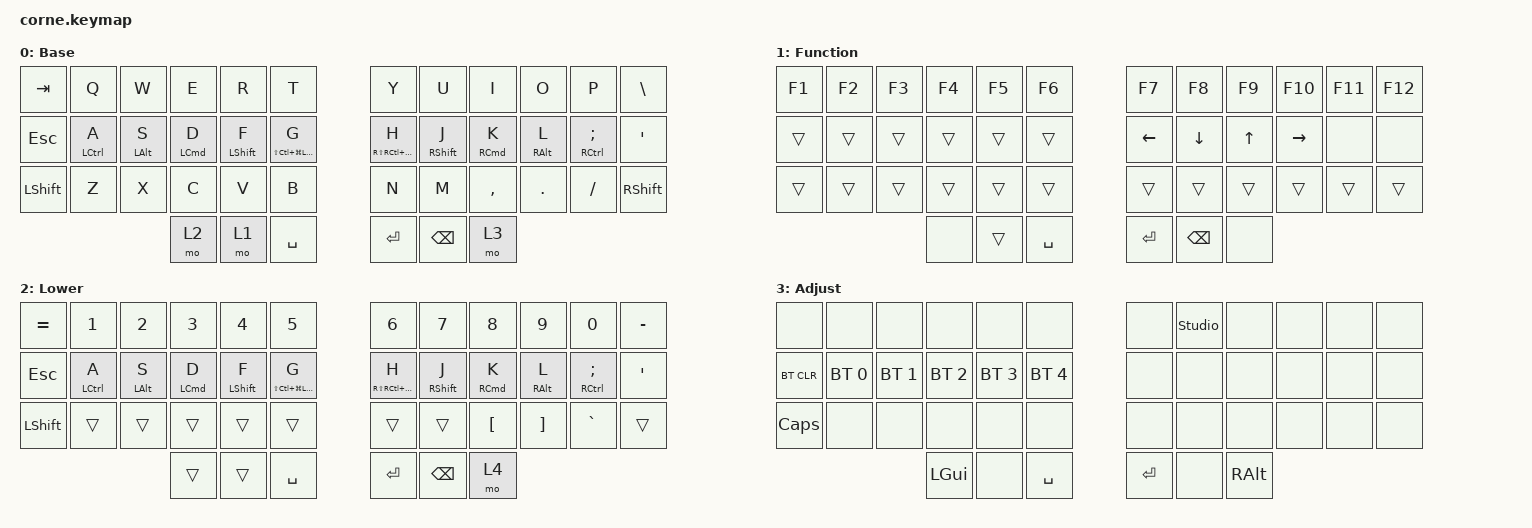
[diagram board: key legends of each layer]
/*
 * Copyright (c) 2020 The ZMK Contributors
 *
 * SPDX-License-Identifier: MIT
 */

#include <behaviors.dtsi>
#include <dt-bindings/zmk/bt.h>
#include <dt-bindings/zmk/keys.h>

#define DEFAULT  0
#define FUNCTION 1 
#define LOWER    2
#define ADJUST   3

/ {
    behaviors {
      #include "macros.dtsi"

      hm: homerow_mods {
          compatible = "zmk,behavior-hold-tap";
          label = "HOMEROW_MODS";
          #binding-cells = <2>;
          tapping-term-ms = <200>;
          quick_tap_ms = <175>;
          flavor = "tap-preferred";
          bindings = <&kp>, <&kp>;
      };

      hml: hml {
          compatible = "zmk,behavior-hold-tap";
          label = "HML";
          bindings = <&kp>, <&kp>;

          #binding-cells = <2>;
          tapping-term-ms = <250>;
          quick-tap-ms = <150>;
          flavor = "balanced";
          hold-trigger-key-positions = <6 7 8 9 10 11 18 19 20 21 22 23 30 31 32 33 34 35 39 40 41>;
          hold-trigger-on-release;
      };

      hmr: hmr {
          compatible = "zmk,behavior-hold-tap";
          label = "HMR";
          bindings = <&kp>, <&kp>;

          #binding-cells = <2>;
          tapping-term-ms = <250>;
          quick-tap-ms = <150>;
          flavor = "balanced";
          hold-trigger-key-positions = <0 1 2 3 4 5 12 13 14 15 16 17 24 25 26 27 28 29 36 37 38>;
          hold-trigger-on-release;
      };

      hmlshift: hmlshift {
          compatible = "zmk,behavior-hold-tap";
          label = "HMLSHIFT";
          bindings = <&kp>, <&kp>;

          #binding-cells = <2>;
          tapping-term-ms = <200>;
          quick-tap-ms = <150>;
          flavor = "balanced";
          hold-trigger-key-positions = <6 7 8 9 10 11 18 19 20 21 22 23 30 31 32 33 34 35 39 40 41>;
          hold-trigger-on-release;
      };

      hmrshift: hmrshift {
          compatible = "zmk,behavior-hold-tap";
          label = "HMRSHIFT";
          bindings = <&kp>, <&kp>;

          #binding-cells = <2>;
          tapping-term-ms = <200>;
          quick-tap-ms = <150>;
          flavor = "balanced";
          hold-trigger-key-positions = <0 1 2 3 4 5 12 13 14 15 16 17 24 25 26 27 28 29 36 37 38>;
          hold-trigger-on-release;
      };
    };

    combos {
        compatible = "zmk,combos";
        
        combo_caps {
            bindings = <&caps_word>;
            key-positions = <24 35>;
            layers = <0>;
        };

        combo_parans {
            bindings = <&macro_parens>;
            key-positions = <9 10>;
            layers = <2>;
        };

        combo_brackets {
            bindings = <&macro_brackets>;
            key-positions = <20 21>;
            layers = <2>;
        };

        combo_braces {
            bindings = <&macro_braces>;
            key-positions = <32 33>;
            layers = <2>;
        };
    };

    keymap {
        compatible = "zmk,keymap";

        // key positions
        // -----------------------------------------------------------------------------------------
        // |   0  |   1  |   2  |   3  |   4  |   5  |    |   6  |   7  |   7  |   9  |  10  |  11  |
        // |  12  |  13  |  14  |  15  |  16  |  17  |    |  18  |  19  |  20  |  21  |  22  |  23  |
        // |  24  |  25  |  26  |  27  |  28  |  29  |    |  30  |  31  |  32  |  33  |  34  |  35  |
        //                      |  36  |  37  |  38  |    |  39  |  40  |  41  |


        default_layer {
            display-name = "Base";
            // -----------------------------------------------------------------------------------------
            // |  TAB |  Q  |  W  |  E  |  R  |  T  |   |  Y  |  U   |  I  |  O  |  P  |   \  |
            // |  ESC |  A  |  S  |  D  |  F  |  G  |   |  H  |  J   |  K  |  L  |  ;  |  '   |
            // | SHFT |  Z  |  X  |  C  |  V  |  B  |   |  N  |  M   |  ,  |  .  |  /  | SHFT |
            //                    | LWR | FN  | SPC |   | ENT | BSPC | RSE |

            bindings = <
                &kp TAB    &kp Q         &kp W        &kp E        &kp R           &kp T                                &kp Y                              &kp U         &kp I        &kp O        &kp P            &kp BSLH
                &kp ESC    &hml LCTRL A  &hml LALT S  &hml LCMD D  &hml LSHFT F    &hmlshift LS(LC(LG(LEFT_ALT))) G     &hmrshift RS(RC(RG(RIGHT_ALT))) H  &hmr RSHFT J  &hmr RCMD K  &hmr RALT L  &hmr RCTRL SEMI  &kp SQT
                &kp LSHFT  &kp Z         &kp X        &kp C        &kp V           &kp B                                &kp N                              &kp M         &kp COMMA    &kp DOT      &kp FSLH         &kp RSHFT
                                                      &mo 2        &mo 1           &kp SPACE                            &kp RET                            &kp BSPC      &mo 3
            >;
        };

        function_layer {
            display-name = "Function";
            // -----------------------------------------------------------------------------------------
            // |   F1 |  F2 |  F3 |  F4 |  F5 |  F6 |   |  F7 |   F8 |  F9 | F10 | F11 |  F12 |
            // |  ESC |     |     |     |     |     |   | LFT |  DWN |  UP | RGT |     |      |
            // | SHFT |     |     |     |     |     |   |     |      |     |     |     | SHFT |
            //                    |     |     | SPC |   | ENT | BSPC | ADJ |

            bindings = <
                &kp F1    &kp F2  &kp F3  &kp F4    &kp F5  &kp F6        &kp F7    &kp F8    &kp F9  &kp F10    &kp F11  &kp F12
                &trans    &trans  &trans  &trans    &trans  &trans        &kp LEFT  &kp DOWN  &kp UP  &kp RIGHT  &none    &none
                &trans    &trans  &trans  &trans    &trans  &trans        &trans    &trans    &trans  &trans     &trans   &trans
                                          &none     &trans  &kp SPACE     &kp RET   &kp BSPC  &none
            >;
        };

        lower_layer {
            display-name = "Lower";
            // -----------------------------------------------------------------------------------------
            // |   =  |  1  |  2  |  3  |  4  |  5  |   |  6  |   7  |  8  |  9  |  0  |   -  |
            // |  ESC |     |     |     |     |     |   | LFT |  DWN |  UP | RGT |     |      |
            // | SHFT |     |     |     |     |     |   |     |      |  {  |  }  |  `  | SHFT |
            //                    | GUI |     | SPC |   | ENT | BSPC | ADJ |

            bindings = <
                &kp EQUAL  &kp N1        &kp N2       &kp N3       &kp N4        &kp N5                                 &kp N6                              &kp N7        &kp N8       &kp N9       &kp N0           &kp MINUS
                &kp ESC    &hml LCTRL A  &hml LALT S  &hml LCMD D  &hml LSHFT F  &hmlshift LS(LC(LG(LEFT_ALT))) G       &hmrshift RS(RC(RG(RIGHT_ALT))) H   &hmr RSHFT J  &hmr RCMD K  &hmr RALT L  &hmr RCTRL SEMI  &kp SQT
                &kp LSHFT  &trans        &trans       &trans       &trans        &trans                                 &trans                              &trans        &kp LBKT     &kp RBKT     &kp GRAVE        &trans
                                                      &trans       &trans        &kp SPACE                              &kp RET                             &kp BSPC      &mo 4
            >;
        };

        adjust_layer {
            display-name = "Adjust";
            // -----------------------------------------------------------------------------------------
            // |      |     |     |     |     |     |   |     | SIO |     |     |     |      |
            // | BTCLR| BT1 | BT2 | BT3 | BT4 | BT5 |   |     |     |     |     |     |      |
            // | CLCK |     |     |     |     |     |   |     |     |     |     |     |      |
            //                    | GUI |     | SPC |   | ENT |     | ALT |

            bindings = <
                &none       &none         &none         &none         &none         &none           &none    &studio_unlock &none     &none  &none  &none
                &bt BT_CLR  &bt BT_SEL 0  &bt BT_SEL 1  &bt BT_SEL 2  &bt BT_SEL 3  &bt BT_SEL 4    &none    &none          &none     &none  &none  &none
                &kp CLCK    &none         &none         &none         &none         &none           &none    &none          &none     &none  &none  &none
                                                        &kp LGUI      &none         &kp SPACE       &kp RET  &none          &kp RALT
            >;
        };

        extra_1 {
            status = "reserved";
        };

        extra_2 {
            status = "reserved";
        };
    };
};
